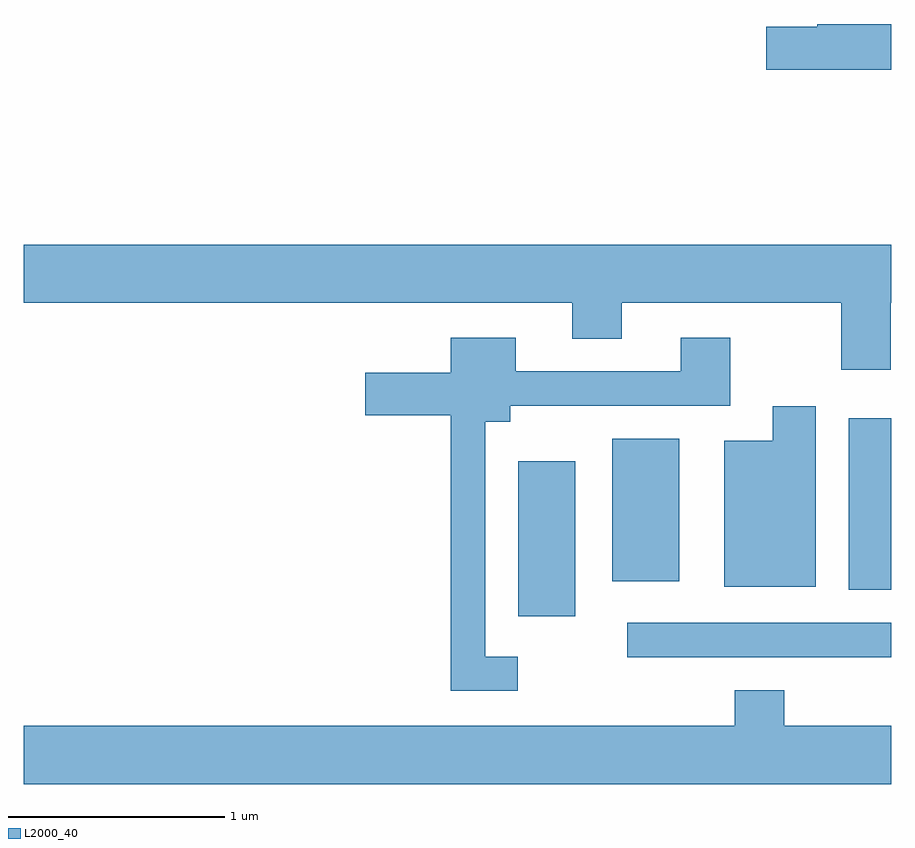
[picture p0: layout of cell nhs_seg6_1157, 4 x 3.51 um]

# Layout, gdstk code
import gdstk
lib = gdstk.Library(unit=1e-6, precision=1e-09)
def R(c, l, rs):  # rectangles x0, y0, x1, y1
    for r in rs: c.add(gdstk.rectangle(r[:2], r[2:], *l))
def P(c, l, *ps):  # polygons
    for p in ps: c.add(gdstk.Polygon(p, *l))
L2000_40 = (2000, 40)

nhs_seg6_1157 = lib.new_cell('nhs_seg6_1157')
R(nhs_seg6_1157, L2000_40, [(222.393,1597.241,223.611,1597.399), (221.891,1597.431,222.154,1598.144), (223.416,1597.551,223.611,1598.344), (222.326,1597.591,222.634,1598.249)])
P(nhs_seg6_1157, L2000_40, [(223.611,1600.162),(223.271,1600.162),(223.271,1600.149),(223.036,1600.149),(223.036,1599.951),(223.611,1599.951)],
  [(223.609,1598.876),(223.611,1598.876),(223.611,1599.144),(219.611,1599.144),(219.611,1598.876),(222.141,1598.876),(222.141,1598.711),(222.369,1598.711),(222.369,1598.876),(223.381,1598.876),(223.381,1598.566),(223.609,1598.566)],
  [(221.888,1597.244),(221.739,1597.244),(221.739,1598.326),(221.854,1598.326),(221.854,1598.401),(222.869,1598.401),(222.869,1598.714),(222.641,1598.714),(222.641,1598.559),(221.879,1598.559),(221.879,1598.714),(221.581,1598.714),(221.581,1598.554),(221.186,1598.554),(221.186,1598.356),(221.581,1598.356),(221.581,1597.086),(221.888,1597.086)],
  [(223.264,1598.399),(223.066,1598.399),(223.066,1598.239),(222.841,1598.239),(222.841,1597.566),(223.264,1597.566)],
  [(223.611,1596.924),(223.119,1596.924),(223.119,1597.089),(222.891,1597.089),(222.891,1596.924),(219.611,1596.924),(219.611,1596.656),(223.611,1596.656)])

lib.write_gds('nhs_seg6_1157.gds')
